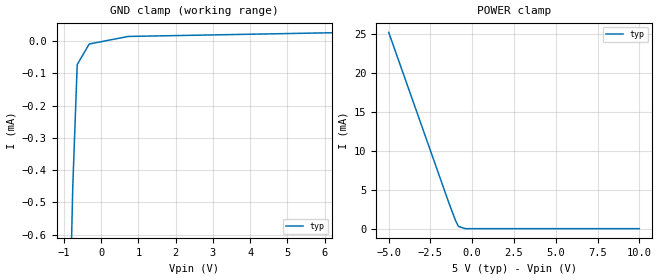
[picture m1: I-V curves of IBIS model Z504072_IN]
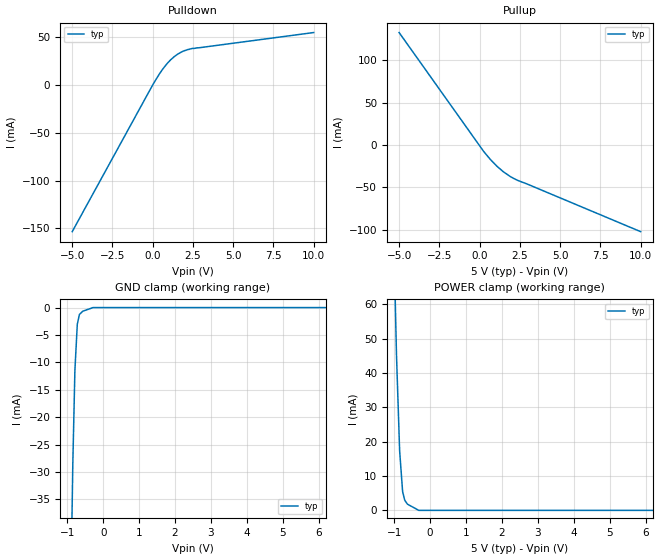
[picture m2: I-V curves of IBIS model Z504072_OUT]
| YOU ARE ONLY AUTHORIZED TO USE THIS SOFTWARE
| ACCORDING TO LICENSOR'S LICENSE RESTRICTIONS.
[IBIS Ver] 3.1
[File Name] mc54hc164j.ibs
[File Rev] 2.0
[Source] Measured and created by ICX Technology
[Date] Friday 7/14/00 9:08:06 AM
[Copyright]
| (C) COPYRIGHT 1993-2000
| MENTOR GRAPHICS CORPORATION
| ICX STANDARD LIBRARY, ICX PROJECT MODELING,
| ICX CUSTOM MODELING, ICX VENDOR MODEL
| ALL RIGHTS RESERVED.
| THE FOLLOWING ARE TRADEMARKS OR SERVICE MARKS OF
| MENTOR GRAPHICS CORPORATION:ICX (R), ICX STANDARD
| LIBRARY(R), ICX PROJECT MODELING(R), ICX CUSTOM
| MODELING(R), qualityIBIS(TM), MODELVIEWER(TM),
| AND MODELEDITOR(TM)
| ALL COPIES OF SOFTWARE, INCLUDING BUT NOT LIMITED TO
| ANY MODIFICATIONS, ENHANCEMENTS OR DERIVATIVE WORKS,
| MUST CONTAIN ALL MENTOR GRAPHICS CORPORATION'S
| NOTICES AND LEGENDS, INCLUDING THOSE EMBEDDED IN
| SOFTWARE AND THOSE AFFIXED TO SOFTWARE MEDIUM
| AND CONTAINER, AS RECEIVED FROM MENTOR GRAPHICS
| CORPORATION.
|  ZAP Model Builder 2.7
[Component] MC54HC164J
[Manufacturer] OnSemiconductor
[Package]
| variable   typ   min   max
R_pkg  .21ohms NA NA
L_pkg  4.543nH NA NA
C_pkg  1.8pF NA NA
[Pin] signal_name  model_name  R_pin  L_pin C_pin
1 A Z504072_IN .22 6.757n 2.434p
2 B Z504072_IN .212 4.757n 1.941p
3 QA Z504072_OUT .204 3.257n 1.448p
4 QB Z504072_OUT .196 2.257n .955p
5 QC Z504072_OUT .204 3.257n 1.448p
6 QD Z504072_OUT .212 4.757n 1.941p
7 GND GND .22 6.757n 2.434p
8 CLK Z504072_IN .22 6.757n 2.434p
9 _CLR Z504072_IN .212 4.757n 1.941p
10 QE Z504072_OUT .204 3.257n 1.448p
11 QF Z504072_OUT .196 2.257n .955p
12 QG Z504072_OUT .204 3.257n 1.448p
13 QH Z504072_OUT .212 4.757n 1.941p
14 VCC POWER .22 6.757n 2.434p
| Models and submodels in the file (2): Z504072_IN (Input), Z504072_OUT (Output)
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| (C) COPYRIGHT 1993-2000
| MENTOR GRAPHICS CORPORATION
| ICX STANDARD LIBRARY, ICX PROJECT MODELING,
| ICX CUSTOM MODELING, ICX VENDOR MODEL
| ALL RIGHTS RESERVED.
| THE FOLLOWING ARE TRADEMARKS OR SERVICE MARKS OF
| MENTOR GRAPHICS CORPORATION:ICX (R), ICX STANDARD
| LIBRARY(R), ICX PROJECT MODELING(R), ICX CUSTOM
| MODELING(R), qualityIBIS(TM), MODELVIEWER(TM),
| AND MODELEDITOR(TM)
| ALL COPIES OF SOFTWARE, INCLUDING BUT NOT LIMITED TO
| ANY MODIFICATIONS, ENHANCEMENTS OR DERIVATIVE WORKS,
| MUST CONTAIN ALL MENTOR GRAPHICS CORPORATION'S
| NOTICES AND LEGENDS, INCLUDING THOSE EMBEDDED IN
| SOFTWARE AND THOSE AFFIXED TO SOFTWARE MEDIUM
| AND CONTAINER, AS RECEIVED FROM MENTOR GRAPHICS
| CORPORATION.
| Model Application Version 1.89 2/18/99.
[Model] Z504072_IN
Model_type Input
Vinl = 1.000V
Vinh = 3.500V
C_comp 4.000pF NA NA
| variable typ   min   max
[Voltage Range] 5.000V NA NA
[GND Clamp Reference] 0.000V NA NA
[POWER Clamp Reference] 5.000V NA NA
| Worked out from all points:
|   GND clamp passes 1 mA (typ) near -0.87 V on its own axis
|   POWER clamp passes 1 mA (typ) near -0.99 V on its own axis
[GND Clamp]
-5V       -25.2mA    NA         NA
-1.01V    -1.699mA   NA         NA
-764.3mV  -452.7uA   NA         NA
-644.8mV  -73.11uA   NA         NA
-322.4mV  -9.161uA   NA         NA
724.4mV   14.28uA    NA         NA
10V       33.73uA    NA         NA
[POWER Clamp]
-5V       25.26mA    NA         NA
-1.396V   3.304mA    NA         NA
-1.001V   1.05mA     NA         NA
-827mV    283.8uA    NA         NA
-413.5mV  0A         NA         NA
10V       0A         NA         NA
| (C) COPYRIGHT 1993-2000
| MENTOR GRAPHICS CORPORATION
| ICX STANDARD LIBRARY, ICX PROJECT MODELING,
| ICX CUSTOM MODELING, ICX VENDOR MODEL
| ALL RIGHTS RESERVED.
| THE FOLLOWING ARE TRADEMARKS OR SERVICE MARKS OF
| MENTOR GRAPHICS CORPORATION:ICX (R), ICX STANDARD
| LIBRARY(R), ICX PROJECT MODELING(R), ICX CUSTOM
| MODELING(R), qualityIBIS(TM), MODELVIEWER(TM),
| AND MODELEDITOR(TM)
| ALL COPIES OF SOFTWARE, INCLUDING BUT NOT LIMITED TO
| ANY MODIFICATIONS, ENHANCEMENTS OR DERIVATIVE WORKS,
| MUST CONTAIN ALL MENTOR GRAPHICS CORPORATION'S
| NOTICES AND LEGENDS, INCLUDING THOSE EMBEDDED IN
| SOFTWARE AND THOSE AFFIXED TO SOFTWARE MEDIUM
| AND CONTAINER, AS RECEIVED FROM MENTOR GRAPHICS
| CORPORATION.
| Model Application Version 1.89 2/18/99.
[Model] Z504072_OUT
Model_type Output
Vref=0.000V
Rref=500.0Mohms
Cref=50.00pF
Vmeas=2.500V
C_comp 8.000pF NA NA
| variable typ   min   max
[Voltage Range] 5.000V NA NA
[POWER Clamp Reference] 5.000V NA NA
[Pullup Reference] 5.000V NA NA
[Pulldown Reference] 0.000V NA NA
[GND Clamp Reference] 0.000V NA NA
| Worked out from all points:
|   slope of the pulldown table from 0 to 0.75 V, typ, clamps not added: 38.9 ohm
|   slope of the pullup table from 0 to 0.75 V, typ, clamps not added: 42.1 ohm
|   GND clamp passes 1 mA (typ) near -0.62 V on its own axis
[GND Clamp]
-5V       -1.782A    NA         NA
-847.2mV  -28.47mA   NA         NA
-789.3mV  -11.48mA   NA         NA
-722.6mV  -3.055mA   NA         NA
-663.5mV  -1.26mA    NA         NA
-569.3mV  -663.6uA   NA         NA
-284.6mV  0A         NA         NA
10V       0A         NA         NA
[Pulldown]
-5V       -153.5mA   NA         NA
9.727mV   359.3uA    NA         NA
629.9mV   16.79mA    NA         NA
918.3mV   22.86mA    NA         NA
1.332V    29.53mA    NA         NA
1.807V    34.68mA    NA         NA
2.461V    38.15mA    NA         NA
10V       54.82mA    NA         NA
[Pullup]
-5V       132.9mA    NA         NA
254mV     -7.612mA   NA         NA
664mV     -16.94mA   NA         NA
1.074V    -25mA      NA         NA
1.484V    -31.7mA    NA         NA
1.898V    -37.09mA   NA         NA
2.139V    -39.64mA   NA         NA
2.355V    -41.65mA   NA         NA
2.632V    -43.77mA   NA         NA
2.83V     -45.08mA   NA         NA
10V       -102.3mA   NA         NA
[POWER Clamp]
-5V       1.919A     NA         NA
-937mV    45.44mA    NA         NA
-849mV    17.37mA    NA         NA
-766mV    5.471mA    NA         NA
-707mV    2.968mA    NA         NA
-633mV    1.817mA    NA         NA
-316.5mV  0A         NA         NA
10V       0A         NA         NA
[Ramp]
| variable typ min max
dV/dt_r 2.803/1.998n NA NA
dV/dt_f 2.803/1.987n NA NA
R_load = 500.0Ohms
